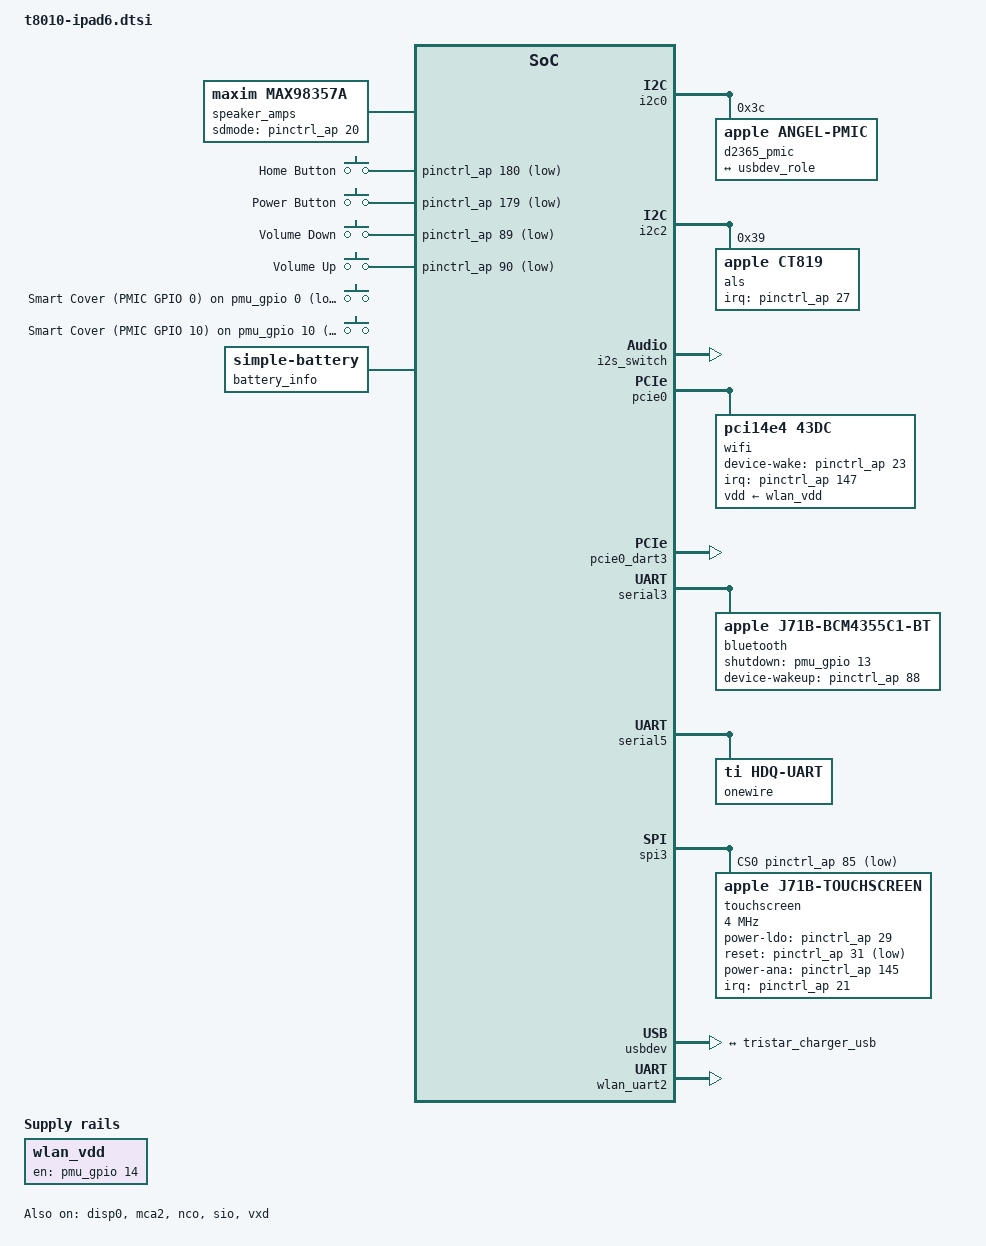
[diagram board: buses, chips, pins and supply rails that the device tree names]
// SPDX-License-Identifier: GPL-2.0+ OR MIT
/*
 * Apple iPad 6 common device tree
 *
 * Copyright (c) 2022, Konrad Dybcio <konradybcio@kernel.org>
 */

#include "t8010.dtsi"
#include "t8010-common.dtsi"
#include <dt-bindings/input/input.h>

/ {
	chassis-type = "tablet";

	aliases {
		als0 = &als;
		bluetooth0 = &bluetooth;
		touchscreen0 = &touchscreen;
		wifi0 = &wifi;
	};

	/*
	 * The speaker amplifiers: one logical codec models the MAX98357A bank's
	 * shared SD_MODE line.
	 */
	speaker_amps: amplifier {
		compatible = "maxim,max98357a";
		#sound-dai-cells = <0>;
		maxim,tdm;
		sdmode-gpios = <&pinctrl_ap 20 GPIO_ACTIVE_HIGH>;
	};

	gpio-keys {
		compatible = "gpio-keys";

		button-home {
			label = "Home Button";
			gpios = <&pinctrl_ap 180 GPIO_ACTIVE_LOW>;
			linux,code = <KEY_HOMEPAGE>;
			wakeup-source;
		};

		button-power {
			label = "Power Button";
			gpios = <&pinctrl_ap 179 GPIO_ACTIVE_LOW>;
			linux,code = <KEY_POWER>;
			wakeup-source;
		};

		button-voldown {
			label = "Volume Down";
			gpios = <&pinctrl_ap 89 GPIO_ACTIVE_LOW>;
			linux,code = <KEY_VOLUMEDOWN>;
		};

		button-volup {
			label = "Volume Up";
			gpios = <&pinctrl_ap 90 GPIO_ACTIVE_LOW>;
			linux,code = <KEY_VOLUMEUP>;
		};
	};

	/*
	 * Smart Cover hall sensors: PMIC GPIO 0 ("halleffect") and 10
	 * ("halleffect1") in the ADT /buttons node. Both read low while the
	 * cover is closed (measured on a J71b). Reported as
	 * SW_MACHINE_COVER, not as a lid switch, so that closing the cover
	 * doesn't suspend the system. Each line is its own device, so that
	 * one the PMIC keeps for itself can't take the other down.
	 */
	smart-cover {
		compatible = "gpio-keys-polled";
		poll-interval = <50>;
		label = "iPad Smart Cover";

		cover-switch {
			label = "Smart Cover (PMIC GPIO 0)";
			gpios = <&pmu_gpio 0 GPIO_ACTIVE_LOW>;
			linux,input-type = <EV_SW>;
			linux,code = <SW_MACHINE_COVER>;
			debounce-interval = <50>;
		};
	};

	smart-cover-aux {
		compatible = "gpio-keys-polled";
		poll-interval = <50>;
		label = "iPad Smart Cover 2";

		cover-switch {
			label = "Smart Cover (PMIC GPIO 10)";
			gpios = <&pmu_gpio 10 GPIO_ACTIVE_LOW>;
			linux,input-type = <EV_SW>;
			linux,code = <SW_MACHINE_COVER>;
			debounce-interval = <50>;
		};
	};

	battery_info: battery {
		compatible = "simple-battery";
		charge-full-design-microamp-hours = <8827000>;
	};

	spi3_nclk: clock-spi3-nclk {
		compatible = "fixed-clock";
		#clock-cells = <0>;
		clock-frequency = <61538461>;
		clock-output-names = "spi3-nclk";
	};

	wlan_vdd: regulator-wlan-vdd {
		compatible = "regulator-fixed";
		regulator-name = "wlan-vdd";
		gpio = <&pmu_gpio 14 GPIO_ACTIVE_HIGH>;
		enable-active-high;
		off-on-delay-us = <100000>;
	};

	/*
	 * The speaker link in the iOS TDM mode: eight 16-bit slots with MCA2 as
	 * clock provider. Each board names its card.
	 */
	speakers: sound {
		compatible = "simple-audio-card";
		simple-audio-card,format = "dsp_a";
		simple-audio-card,bitclock-master = <&speaker_cpu>;
		simple-audio-card,frame-master = <&speaker_cpu>;
		simple-audio-card,widgets = "Speaker", "Speakers";
		simple-audio-card,routing = "Speakers", "Speaker";
		simple-audio-card,pin-switches = "Speakers";

		speaker_cpu: simple-audio-card,cpu {
			sound-dai = <&mca2>;
		};

		simple-audio-card,codec {
			sound-dai = <&speaker_amps>;
		};
	};
};

&framebuffer0 {
	power-domains = <&ps_disp0_fe &ps_disp0_be &ps_dp>;
};

&disp0 {
	status = "okay";
};

&hurricane_opp09 {
	status = "okay";
};

&hurricane_opp10 {
	status = "okay";
};

&i2c0 {
	status = "okay";

	tristar: port-controller@1a {
		compatible = "nxp,cbtl1610";
		reg = <0x1a>;
	};

	d2365_pmic: pmic@3c {
		compatible = "apple,angel-pmic", "apple,i2c-pmic";
		reg = <0x3c>;
		#address-cells = <1>;
		#size-cells = <1>;

		pmu_gpio: gpio {
			compatible = "apple,d2365-pmic-gpio";
			gpio-controller;
			#gpio-cells = <2>;
			gpio-reserved-ranges = <1 9>, <11 2>, <15 9>;
			interrupt-controller;
			#interrupt-cells = <2>;
			interrupts-extended = <&pinctrl_ap 38 IRQ_TYPE_LEVEL_LOW>;
			/* Smart Cover hall sensors (lines 0 and 10): wake only. */
			apple,wake-events = <0x30 0x3a>;
		};

		rtc@500 {
			compatible = "apple,angel-pmic-rtc", "apple,antigua-pmic-rtc";
			reg = <0x500 0x10>;
			nvmem-cells = <&rtc_offset>;
			nvmem-cell-names = "rtc_offset";
		};

		tristar_charger: charger@180 {
			compatible = "apple,j71b-tristar-charger", "apple,tristar-charger";
			reg = <0x180 0x10>, <0xa00 0x04>, <0x4000 0x03>;
			reg-names = "status", "control", "adc";
			interrupt-parent = <&pmu_gpio>;
			/*
			 * The PMU line, ADC done, then the events the iPadOS
			 * charger subscribes to.
			 */
			interrupts = <240 IRQ_TYPE_EDGE_RISING>,
				     <176 IRQ_TYPE_EDGE_RISING>,
				     <16 IRQ_TYPE_EDGE_RISING>,
				     <40 IRQ_TYPE_EDGE_RISING>,
				     <41 IRQ_TYPE_EDGE_RISING>,
				     <42 IRQ_TYPE_EDGE_RISING>,
				     <43 IRQ_TYPE_EDGE_RISING>,
				     <72 IRQ_TYPE_EDGE_RISING>,
				     <77 IRQ_TYPE_EDGE_RISING>;
			apple,tristar = <&tristar>;
			input-current-limit-microamp = <2400000>;

			/* The charger decides when USB data may come on. */
			port {
				tristar_charger_usb: endpoint {
					remote-endpoint = <&usbdev_role>;
				};
			};
		};

		nvmem@5000 {
			compatible = "apple,pmic-nvmem";
			reg = <0x5000 0x28>;

			nvmem-layout {
				compatible = "fixed-layout";
				#address-cells = <1>;
				#size-cells = <1>;

				rtc_offset: rtc-offset@4 {
					reg = <0x4 0x4>;
				};
			};
		};
	};
};

/*
 * The ambient light sensor, as in Apple's device tree of the iPad 6 and
 * iPad 7 (i2c2 als1, als,ct819 at 0x39, GPIO 27 level-low).
 */
&i2c2 {
	status = "okay";

	/* m1n1 adds apple,als-calibration from the ADT */
	als: light-sensor@39 {
		compatible = "apple,ct819", "amstaos,tsl2581";
		reg = <0x39>;
		interrupts-extended = <&pinctrl_ap 27 IRQ_TYPE_LEVEL_LOW>;
	};
};

&i2s_switch {
	status = "okay";
};

&mca2 {
	apple,i2s-switch = <&i2s_switch 2 2>;
	status = "okay";
};

&nco {
	status = "okay";
};

/*
 * The NCO reference rate as a running J71b's ADT gives it. The IPSW ADTs leave
 * it for iBoot to fill in, so the other boards are assumed to share it.
 */
&nco_clkref {
	clock-frequency = <800000000>;
};

&pcie0 {
	iommu-map = <0x100 &pcie0_dart0 0 0x0 0x80000000 0x0 0x3c000000 1>,
		    <0x200 &pcie0_dart3 0 0x0 0x80000000 0x0 0x3ffff000 1>;
	pinctrl-0 = <&wifi_clkreq>;
	pinctrl-names = "default";

	pci@3,0 {
		device_type = "pci";
		reg = <0x1800 0x0 0x0 0x0 0x0>;
		bus-range = <2 2>;
		max-link-speed = <1>;
		apple,manual-availability-iommu = <&pcie0_dart3 0>;
		apple,link-retry-after-power-cycle;
		apple,hardware-trained-phy-lane;
		apple,endpoint-power-after-link-setup;
		apple,inherited-perst-before-link-setup;
		reset-gpios = <&pinctrl_ap 15 GPIO_ACTIVE_LOW>;

		#address-cells = <3>;
		#size-cells = <2>;
		ranges;

		wifi: wifi@0,0 {
			compatible = "pci14e4,43dc";
			reg = <0x20000 0x0 0x0 0x0 0x0>;
			interrupts-extended = <&pinctrl_ap 147 IRQ_TYPE_EDGE_FALLING>;
			interrupt-names = "host-wake";
			apple,wlan-uart = <&wlan_uart2>;
			device-wake-gpios = <&pinctrl_ap 23 GPIO_ACTIVE_HIGH>;
			vdd-supply = <&wlan_vdd>;
			brcm,ccode-map-trivial;
		};
	};
};

&pcie0_dart3 {
	status = "okay";
};

&pinctrl_ap {
	battery_swi_pins: battery-swi-pins {
		pinmux = <APPLE_PINMUX(173, 1)>;
	};

	bluetooth_uart3_pins: bluetooth-uart3-pins {
		pinmux = <APPLE_PINMUX(134, 1)>,
			 <APPLE_PINMUX(135, 1)>,
			 <APPLE_PINMUX(136, 1)>,
			 <APPLE_PINMUX(137, 1)>;
	};

	wifi_clkreq: wifi-clkreq-pins {
		pinmux = <APPLE_PINMUX(19, 1)>;
	};

	wlan_uart2_pins: wlan-uart2-pins {
		pinmux = <APPLE_PINMUX(148, 1)>,
			 <APPLE_PINMUX(150, 1)>;
	};
};

&serial3 {
	pinctrl-0 = <&bluetooth_uart3_pins>;
	pinctrl-names = "default";
	uart-has-rtscts;
	status = "okay";

	bluetooth: bluetooth {
		compatible = "apple,j71b-bcm4355c1-bt",
			     "brcm,bcm4355c1-bt";
		current-speed = <115200>;
		max-speed = <3000000>;
		shutdown-gpios = <&pmu_gpio 13 GPIO_ACTIVE_HIGH>;
		device-wakeup-gpios = <&pinctrl_ap 88 GPIO_ACTIVE_HIGH>;
	};
};

&serial5 {
	pinctrl-0 = <&battery_swi_pins>;
	pinctrl-names = "default";
	status = "okay";

	onewire {
		compatible = "ti,hdq-uart";

		battery: fuel-gauge {
			compatible = "ti,bq27540-hdq";
			monitored-battery = <&battery_info>;
		};
	};
};

&spi3 {
	clocks = <&spi3_nclk>;
	cs-gpios = <&pinctrl_ap 85 GPIO_ACTIVE_LOW>;
	dmas = <&sio 0x1a>;
	dma-names = "tx";
	status = "okay";

	touchscreen: touchscreen@0 {
		compatible = "apple,j71b-touchscreen";
		reg = <0>;
		spi-max-frequency = <4000000>;
		spi-cpol;
		spi-cpha;
		apple,z2-bpw16-min-len = <17>;
		apple,z2-no-init-ack;
		interrupts-extended = <&pinctrl_ap 21 IRQ_TYPE_EDGE_FALLING>;
		power-ldo-gpios = <&pinctrl_ap 29 GPIO_ACTIVE_HIGH>;
		reset-gpios = <&pinctrl_ap 31 GPIO_ACTIVE_LOW>;
		power-ana-gpios = <&pinctrl_ap 145 GPIO_ACTIVE_HIGH>;
		clocks = <&touchclk>;
		touchscreen-size-x = <1536>;
		touchscreen-size-y = <2048>;
	};
};

&sio {
	status = "okay";
};

/*
 * The Lightning charger sets the data role: USB data stays off until the
 * source is identified. It is told what the USB host allows.
 */
&usbdev {
	usb-psy-name = "lightning";
	usb-role-switch;

	port {
		usbdev_role: endpoint {
			remote-endpoint = <&tristar_charger_usb>;
		};
	};
};

&vxd {
	status = "okay";
};

&wlan_uart2 {
	pinctrl-0 = <&wlan_uart2_pins>;
	pinctrl-names = "default";
	status = "okay";
};

/* The adopted DisplayPort panel link cannot be restored after power loss. */
&ps_dp {
	apple,always-on;
	apple,manual-pm;
};
